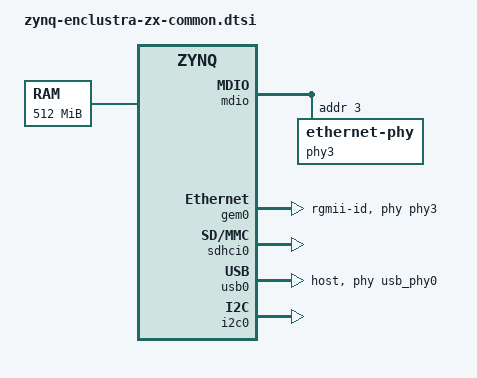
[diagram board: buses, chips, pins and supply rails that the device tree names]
/ {
	memory {
		device_type = "memory";
		reg = <0x0 0x20000000>;
	};

	chosen {
		linux,stdout-path = "/amba/serial@e0000000";
	};

	usb_phy0: phy0 {
		compatible = "ulpi-phy";
		#phy-cells = <0>;
		reg = <0xe0002000 0x1000>;
		view-port = <0x0170>;
		drv-vbus;
	};
	mdio {
                compatible = "cdns,macb-mdio";
                reg = <0xe000b000 0x1000>;
                clocks = <&clkc 30>, <&clkc 30>, <&clkc 13>;
                clock-names = "pclk", "hclk", "tx_clk";
                #address-cells = <1>;
                #size-cells = <0>;
                phy3: ethernet-phy@3 {
                        reg = <3>;
                };
        };

};

&gem0 {
	status = "okay";
	phy-mode = "rgmii-id";
	phy-handle = <&phy3>;
};

&sdhci0 {
	status = "okay";
	broken-cd = <0x1>;
	wp-inverted = <0x1>;
};

&usb0 {
	status = "okay";
	dr_mode = "host";
	usb-phy = <&usb_phy0>;
};

&i2c0 {
	status = "okay";
	/* Both RTCs disabled by default, choose one */
	pcf85063: pcf85063@51 {
		status = "disabled";
		compatible = "nxp,pcf85063";
		reg = <0x51>;
	};
	isl12022: isl12022@68 {
		status = "disabled";
		compatible = "isil,isl12022";
		reg = <0x6f>;
	};
};
